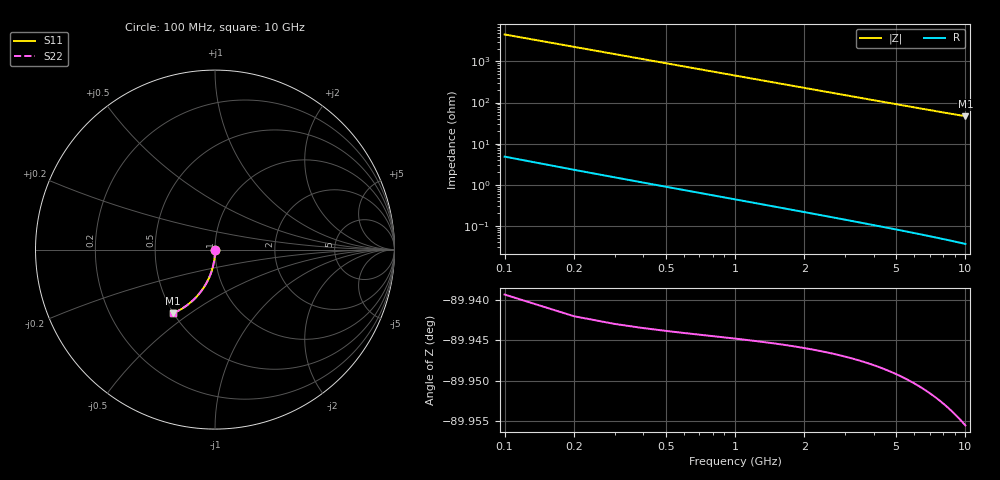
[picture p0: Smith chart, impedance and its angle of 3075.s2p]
# Hz S RI R 50.00
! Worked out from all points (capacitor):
!   100 points, 100 MHz to 10 GHz, reference 50 ohm
!   read as one part in shunt: C = 350 fF near 100 MHz
!   lowest |Z| = 46.5 ohm at 10 GHz (marker M1)
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1e8  0.000353 -0.00479  0.9996 -0.0062  0.9996 -0.0062  0.000353 -0.00479
2e8  0.000262 -0.00957  0.9995 -0.0124  0.9995 -0.0124  0.000262 -0.00957
3e8  0.00011 -0.0144  0.9993 -0.0186  0.9993 -0.0186  0.00011 -0.0144
4e8  -0.000101 -0.0191  0.9991 -0.0248  0.9991 -0.0248  -0.000101 -0.0191
5e8  -0.000372 -0.0239  0.9988 -0.031  0.9988 -0.031  -0.000372 -0.0239
6e8  -0.000702 -0.0287  0.9985 -0.0371  0.9985 -0.0371  -0.000702 -0.0287
7e8  -0.00109 -0.0335  0.9981 -0.0433  0.9981 -0.0433  -0.00109 -0.0335
8e8  -0.00154 -0.0382  0.9976 -0.0495  0.9976 -0.0495  -0.00154 -0.0382
9e8  -0.00205 -0.043  0.9971 -0.0557  0.9971 -0.0557  -0.00205 -0.043
1.1e9  -0.00324 -0.0525  0.9958 -0.068  0.9958 -0.068  -0.00324 -0.0525
1.4e9  -0.00546 -0.0666  0.9935 -0.0863  0.9935 -0.0863  -0.00546 -0.0666
1.8e9  -0.00922 -0.0853  0.9896 -0.1107  0.9896 -0.1107  -0.00922 -0.0853
2.1e9  -0.0126 -0.0991  0.9861 -0.1287  0.9861 -0.1287  -0.0126 -0.0991
2.5e9  -0.018 -0.1173  0.9806 -0.1526  0.9806 -0.1526  -0.018 -0.1173
2.9e9  -0.0242 -0.1351  0.9742 -0.176  0.9742 -0.176  -0.0242 -0.1351
3.4e9  -0.033 -0.1569  0.965 -0.2048  0.965 -0.2048  -0.033 -0.1569
4.2e9  -0.0498 -0.1901  0.9476 -0.2494  0.9476 -0.2494  -0.0498 -0.1901
5.1e9  -0.072 -0.2248  0.9245 -0.2969  0.9245 -0.2969  -0.072 -0.2248
5.9e9  -0.0944 -0.2531  0.9013 -0.3366  0.9013 -0.3366  -0.0944 -0.2531
6.7e9  -0.1188 -0.2787  0.8758 -0.3736  0.8758 -0.3736  -0.1188 -0.2787
8.4e9  -0.1758 -0.3238  0.8162 -0.4432  0.8162 -0.4432  -0.1758 -0.3238
1e10  -0.2332 -0.3545  0.7556 -0.4972  0.7556 -0.4972  -0.2332 -0.3545
